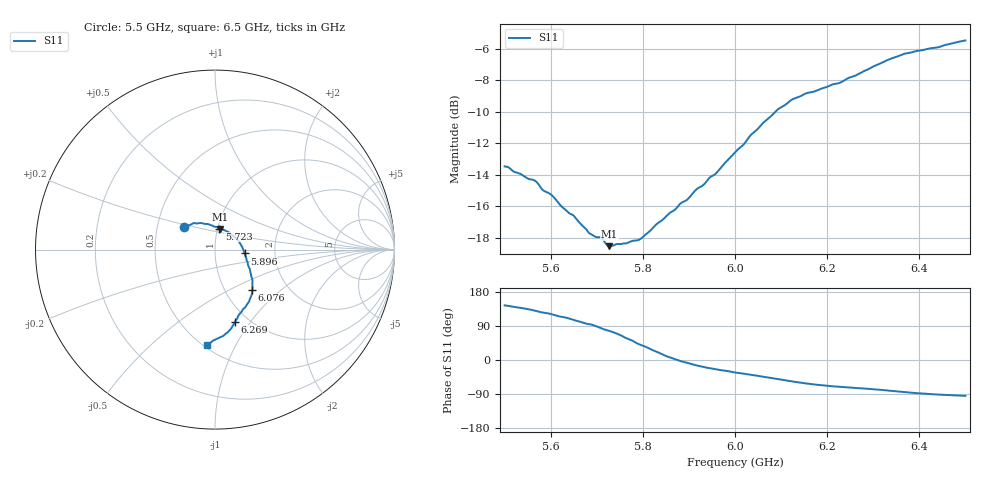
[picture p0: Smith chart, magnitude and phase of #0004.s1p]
#  HZ  S  DB  R  50.00
! Rohde & Schwarz ZVA24 4Ports - Version 3.60 - 1145.1110k28 SN: 101513
! Date: 2019-08-26 13:12:23
! Measurement: S33
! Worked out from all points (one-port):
!   801 points, 5.5 GHz to 6.5 GHz, reference 50 ohm
!   lowest |S11| = -18.5 dB at 5.728 GHz (marker M1), VSWR 1.27, Z = 51.4 + j12 ohm
!   |S11| at or under -10 dB: start of sweep to 6.088 GHz
!   S11 on the Smith chart (normalised r, x): 5.5 GHz: 0.69, +0.18; 5.723 GHz: 1.02, +0.24; 5.896 GHz: 1.39, -0.06; 6.076 GHz: 1.34, -0.66; 6.269 GHz: 0.87, -0.85; 6.5 GHz: 0.52, -0.77
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5.5e9  -13.46 144.1
5.56625e9  -14.38 130.0
5.58375e9  -14.98 125.2
5.60375e9  -15.33 120.3
5.625e9  -16.05 113.7
5.65e9  -16.60 105.6
5.685e9  -17.73 94.3
5.71e9  -18.00 83.6
5.7225e9  -18.46 78.5
5.7275e9  -18.53 76.6
5.75e9  -18.40 66.2
5.795e9  -18.07 40.1
5.83375e9  -17.04 19.7
5.875e9  -16.04 -0.0
5.89625e9  -15.57 -7.4
5.915e9  -14.96 -13.9
5.96e9  -13.87 -24.8
6e9  -12.58 -32.9
6.03625e9  -11.42 -39.0
6.07625e9  -10.33 -47.0
6.125e9  -9.20 -56.7
6.17375e9  -8.69 -65.0
6.25e9  -7.81 -72.7
6.26875e9  -7.60 -74.5
6.3125e9  -6.97 -78.3
6.375e9  -6.28 -85.3
6.42125e9  -5.99 -89.9
6.5e9  -5.47 -94.6
